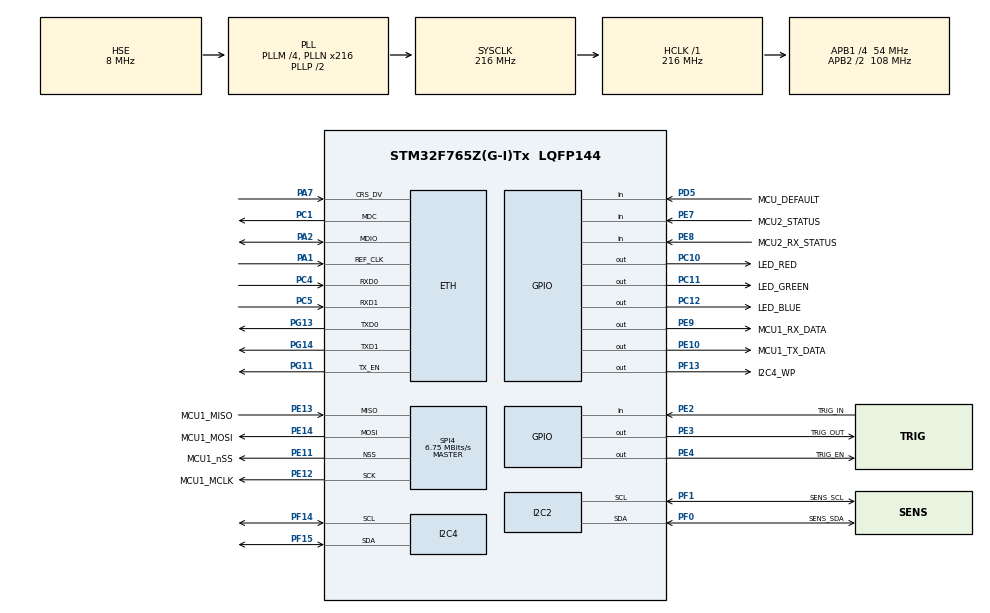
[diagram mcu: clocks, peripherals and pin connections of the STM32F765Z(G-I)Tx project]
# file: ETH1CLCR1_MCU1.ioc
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CORTEX_M7.CPU_DCache=Enabled
CORTEX_M7.CPU_ICache=Enabled
ETH.MediaInterface=ETH_MEDIA_INTERFACE_RMII
FREERTOS.HEAP_NUMBER=4
FREERTOS.Tasks01=defaultTask,24,128,StartDefaultTask,Default,NULL,Dynamic,NULL,NULL;LEDTask,8,128,StartLEDTask,Default,NULL,Dynamic,NULL,NULL;TriggerTask,24,128,StartTriggerTask,Default,NULL,Dynamic,NULL,NULL
FREERTOS.configTOTAL_HEAP_SIZE=245760
I2C2.Timing=0x20404768
I2C4.Timing=0x20404768
LWIP.CMSIS_VERSION-Enabled=1
LWIP.DEFAULT_THREAD_STACKSIZE=2048
LWIP.GATEWAY_ADDRESS=192.168.000.123
LWIP.IP_ADDRESS=192.168.000.126
LWIP.LWIP_DHCP=0
LWIP.NETMASK_ADDRESS=255.255.255.000
LWIP.SLIPIF_THREAD_STACKSIZE=2048
LWIP.TCPIP_THREAD_STACKSIZE=2048
LWIP.Version=v2.1.2_Cube
Mcu.Family=STM32F7
Mcu.Name=STM32F765Z(G-I)Tx
Mcu.Package=LQFP144
NVIC.ETH_IRQn=true\:5\:0\:false\:false\:true\:true\:false\:true
NVIC.PriorityGroup=NVIC_PRIORITYGROUP_4
NVIC.TIM1_UP_TIM10_IRQn=true\:0\:0\:false\:false\:true\:false\:false\:true
NVIC.TimeBase=TIM1_UP_TIM10_IRQn
NVIC.TimeBaseIP=TIM1
PA1.Mode=RMII
PA1.Signal=ETH_REF_CLK
PA13.Mode=Serial_Wire
PA13.Signal=SYS_JTMS-SWDIO
PA14.Mode=Serial_Wire
PA14.Signal=SYS_JTCK-SWCLK
PA2.Mode=RMII
PA2.Signal=ETH_MDIO
PA7.Mode=RMII
PA7.Signal=ETH_CRS_DV
PC1.Mode=RMII
PC1.Signal=ETH_MDC
PC10.GPIO_Label=LED_RED
PC10.PinState=GPIO_PIN_SET
PC10.Signal=GPIO_Output
PC11.GPIO_Label=LED_GREEN
PC11.PinState=GPIO_PIN_SET
PC11.Signal=GPIO_Output
PC12.GPIO_Label=LED_BLUE
PC12.PinState=GPIO_PIN_SET
PC12.Signal=GPIO_Output
PC4.Mode=RMII
PC4.Signal=ETH_RXD0
PC5.Mode=RMII
PC5.Signal=ETH_RXD1
PD5.GPIO_Label=MCU_DEFAULT
PD5.Signal=GPIO_Input
PE10.GPIO_Label=MCU1_TX_DATA
PE10.GPIO_PuPd=GPIO_PULLUP
PE10.GPIO_Speed=GPIO_SPEED_FREQ_HIGH
PE10.Signal=GPIO_Output
PE11.GPIO_Label=MCU1_nSS
PE11.GPIO_Speed=GPIO_SPEED_FREQ_HIGH
PE11.Mode=NSS_Signal_Hard_Output
PE11.Signal=SPI4_NSS
PE12.GPIO_Label=MCU1_MCLK
PE12.GPIO_Speed=GPIO_SPEED_FREQ_HIGH
PE12.Mode=Full_Duplex_Master
PE12.Signal=SPI4_SCK
PE13.GPIO_Label=MCU1_MISO
PE13.GPIO_PuPd=GPIO_PULLUP
PE13.GPIO_Speed=GPIO_SPEED_FREQ_HIGH
PE13.Mode=Full_Duplex_Master
PE13.Signal=SPI4_MISO
PE14.GPIO_Label=MCU1_MOSI
PE14.GPIO_Speed=GPIO_SPEED_FREQ_HIGH
PE14.Mode=Full_Duplex_Master
PE14.Signal=SPI4_MOSI
PE2.GPIO_Label=TRIG_IN
PE2.Signal=GPIO_Input
PE3.GPIO_Label=TRIG_OUT
PE3.GPIO_Speed=GPIO_SPEED_FREQ_VERY_HIGH
PE3.Signal=GPIO_Output
PE4.GPIO_Label=TRIG_EN
PE4.GPIO_ModeDefaultOutputPP=GPIO_MODE_OUTPUT_PP
PE4.GPIO_Speed=GPIO_SPEED_FREQ_LOW
PE4.Signal=GPIO_Output
PE7.GPIO_Label=MCU2_STATUS
PE7.Signal=GPIO_Input
PE8.GPIO_Label=MCU2_RX_STATUS
PE8.GPIO_PuPd=GPIO_PULLUP
PE8.Signal=GPIO_Input
PE9.GPIO_Label=MCU1_RX_DATA
PE9.GPIO_PuPd=GPIO_PULLUP
PE9.GPIO_Speed=GPIO_SPEED_FREQ_HIGH
PE9.Signal=GPIO_Output
PF0.GPIO_Label=SENS_SDA
PF0.Mode=I2C
PF0.Signal=I2C2_SDA
PF1.GPIO_Label=SENS_SCL
PF1.Mode=I2C
PF1.Signal=I2C2_SCL
PF13.GPIO_Label=I2C4_WP
PF13.Signal=GPIO_Output
PF14.Mode=I2C
PF14.Signal=I2C4_SCL
PF15.Mode=I2C
PF15.Signal=I2C4_SDA
PG11.Mode=RMII
PG11.Signal=ETH_TX_EN
PG13.Mode=RMII
PG13.Signal=ETH_TXD0
PG14.Mode=RMII
PG14.Signal=ETH_TXD1
PH0/OSC_IN.Mode=HSE-External-Oscillator
PH0/OSC_IN.Signal=RCC_OSC_IN
PH1/OSC_OUT.Mode=HSE-External-Oscillator
PH1/OSC_OUT.Signal=RCC_OSC_OUT
ProjectManager.HeapSize=0x200
ProjectManager.StackSize=0x400
ProjectManager.TargetToolchain=STM32CubeIDE
RCC.AHBFreq_Value=216000000
RCC.APB1CLKDivider=RCC_HCLK_DIV4
RCC.APB1Freq_Value=54000000
RCC.APB1TimFreq_Value=108000000
RCC.APB2CLKDivider=RCC_HCLK_DIV2
RCC.APB2Freq_Value=108000000
RCC.APB2TimFreq_Value=216000000
RCC.CortexFreq_Value=216000000
RCC.HCLKFreq_Value=216000000
RCC.HSE_VALUE=8000000
RCC.HSI_VALUE=16000000
RCC.LSE_VALUE=32768
RCC.PLLM=4
RCC.PLLN=216
RCC.PLLSourceVirtual=RCC_PLLSOURCE_HSE
RCC.SYSCLKFreq_VALUE=216000000
RCC.SYSCLKSource=RCC_SYSCLKSOURCE_PLLCLK
RCC.USBFreq_Value=216000000
RCC.VCOOutputFreq_Value=432000000
SPI4.BaudRatePrescaler=SPI_BAUDRATEPRESCALER_16
SPI4.CalculateBaudRate=6.75 MBits/s
SPI4.DataSize=SPI_DATASIZE_8BIT
SPI4.Direction=SPI_DIRECTION_2LINES
SPI4.Mode=SPI_MODE_MASTER
SPI4.VirtualNSS=VM_NSSHARD
SPI4.VirtualType=VM_MASTER
VP_FREERTOS_VS_CMSIS_V2.Mode=CMSIS_V2
VP_LWIP_VS_Enabled.Mode=Enabled
VP_SYS_VS_tim1.Mode=TIM1
board=custom

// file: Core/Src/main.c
/* USER CODE BEGIN Header */
/**
  ******************************************************************************
  * @file           : main.c
  * @brief          : Main program body
  ******************************************************************************
  * @attention
  *
  * <h2><center>&copy; Copyright (c) 2020 STMicroelectronics.
  * All rights reserved.</center></h2>
  *
  * This software component is licensed by ST under BSD 3-Clause license,
  * the "License"; You may not use this file except in compliance with the
  * License. You may obtain a copy of the License at:
  *                        opensource.org/licenses/BSD-3-Clause
  *
  ******************************************************************************
  */
/* USER CODE END Header */

#include "main.h"
#include "cmsis_os.h"
#include "lwip.h"

/* USER CODE BEGIN Includes */
#include "board.h"
#include "scpi_trigger.h"
#include "spi4.h"
/* USER CODE END Includes */

I2C_HandleTypeDef hi2c2;
I2C_HandleTypeDef hi2c4;

SPI_HandleTypeDef hspi4;

/* Definitions for defaultTask */
osThreadId_t defaultTaskHandle;
const osThreadAttr_t defaultTask_attributes = {
  .name = "defaultTask",
  .priority = (osPriority_t) osPriorityNormal,
  .stack_size = 128 * 4
};
/* Definitions for LEDTask */
osThreadId_t LEDTaskHandle;
const osThreadAttr_t LEDTask_attributes = {
  .name = "LEDTask",
  .priority = (osPriority_t) osPriorityLow,
  .stack_size = 128 * 4
};
/* Definitions for TriggerTask */
osThreadId_t TriggerTaskHandle;
const osThreadAttr_t TriggerTask_attributes = {
  .name = "TriggerTask",
  .priority = (osPriority_t) osPriorityNormal,
  .stack_size = 128 * 4
};

void SystemClock_Config(void);
static void MX_GPIO_Init(void);
static void MX_I2C2_Init(void);
static void MX_I2C4_Init(void);
static void MX_SPI4_Init(void);
void StartDefaultTask(void *argument);
void StartLEDTask(void *argument);
void StartTriggerTask(void *argument);

int main(void)
{

  /* Enable I-Cache---------------------------------------------------------*/
  SCB_EnableICache();

  /* Enable D-Cache---------------------------------------------------------*/
  SCB_EnableDCache();

  /* MCU Configuration--------------------------------------------------------*/

  /* Reset of all peripherals, Initializes the Flash interface and the Systick. */
  HAL_Init();

  /* Configure the system clock */
  SystemClock_Config();

  /* Initialize all configured peripherals */
  MX_GPIO_Init();
  MX_I2C2_Init();
  MX_I2C4_Init();
  MX_SPI4_Init();
  /* USER CODE BEGIN 2 */
  MX_LWIP_Init();

  BOARD_DetectDefaultConfig();
  BOARD_CreateDefaultData();
  /* USER CODE END 2 */

  /* Init scheduler */
  osKernelInitialize();

  /* Create the thread(s) */
  /* creation of defaultTask */
 // defaultTaskHandle = osThreadNew(StartDefaultTask, NULL, &defaultTask_attributes);

  /* creation of LEDTask */
 // LEDTaskHandle = osThreadNew(StartLEDTask, NULL, &LEDTask_attributes);

  /* creation of TriggerTask */
 // TriggerTaskHandle = osThreadNew(StartTriggerTask, NULL, &TriggerTask_attributes);

  /* USER CODE BEGIN RTOS_THREADS */
  scpi_server_init();
  /* USER CODE END RTOS_THREADS */

  /* Start scheduler */
  osKernelStart();

  /* We should never get here as control is now taken by the scheduler */
  /* Infinite loop */
  while (1)
  {

  }
}

void SystemClock_Config(void)
{
  RCC_OscInitTypeDef RCC_OscInitStruct = {0};
  RCC_ClkInitTypeDef RCC_ClkInitStruct = {0};
  RCC_PeriphCLKInitTypeDef PeriphClkInitStruct = {0};

  /** Configure the main internal regulator output voltage
  */
  __HAL_RCC_PWR_CLK_ENABLE();
  __HAL_PWR_VOLTAGESCALING_CONFIG(PWR_REGULATOR_VOLTAGE_SCALE1);
  /** Initializes the CPU, AHB and APB busses clocks
  */
  RCC_OscInitStruct.OscillatorType = RCC_OSCILLATORTYPE_HSE;
  RCC_OscInitStruct.HSEState = RCC_HSE_ON;
  RCC_OscInitStruct.PLL.PLLState = RCC_PLL_ON;
  RCC_OscInitStruct.PLL.PLLSource = RCC_PLLSOURCE_HSE;
  RCC_OscInitStruct.PLL.PLLM = 4;
  RCC_OscInitStruct.PLL.PLLN = 216;
  RCC_OscInitStruct.PLL.PLLP = RCC_PLLP_DIV2;
  RCC_OscInitStruct.PLL.PLLQ = 2;
  if (HAL_RCC_OscConfig(&RCC_OscInitStruct) != HAL_OK)
  {
    Error_Handler();
  }
  /** Activate the Over-Drive mode
  */
  if (HAL_PWREx_EnableOverDrive() != HAL_OK)
  {
    Error_Handler();
  }
  /** Initializes the CPU, AHB and APB busses clocks
  */
  RCC_ClkInitStruct.ClockType = RCC_CLOCKTYPE_HCLK|RCC_CLOCKTYPE_SYSCLK
                              |RCC_CLOCKTYPE_PCLK1|RCC_CLOCKTYPE_PCLK2;
  RCC_ClkInitStruct.SYSCLKSource = RCC_SYSCLKSOURCE_PLLCLK;
  RCC_ClkInitStruct.AHBCLKDivider = RCC_SYSCLK_DIV1;
  RCC_ClkInitStruct.APB1CLKDivider = RCC_HCLK_DIV4;
  RCC_ClkInitStruct.APB2CLKDivider = RCC_HCLK_DIV2;

  if (HAL_RCC_ClockConfig(&RCC_ClkInitStruct, FLASH_LATENCY_7) != HAL_OK)
  {
    Error_Handler();
  }
  PeriphClkInitStruct.PeriphClockSelection = RCC_PERIPHCLK_I2C2|RCC_PERIPHCLK_I2C4;
  PeriphClkInitStruct.I2c2ClockSelection = RCC_I2C2CLKSOURCE_PCLK1;
  PeriphClkInitStruct.I2c4ClockSelection = RCC_I2C4CLKSOURCE_PCLK1;
  if (HAL_RCCEx_PeriphCLKConfig(&PeriphClkInitStruct) != HAL_OK)
  {
    Error_Handler();
  }
}

static void MX_I2C2_Init(void)
{

  hi2c2.Instance = I2C2;
  hi2c2.Init.Timing = 0x20404768;
  hi2c2.Init.OwnAddress1 = 0;
  hi2c2.Init.AddressingMode = I2C_ADDRESSINGMODE_7BIT;
  hi2c2.Init.DualAddressMode = I2C_DUALADDRESS_DISABLE;
  hi2c2.Init.OwnAddress2 = 0;
  hi2c2.Init.OwnAddress2Masks = I2C_OA2_NOMASK;
  hi2c2.Init.GeneralCallMode = I2C_GENERALCALL_DISABLE;
  hi2c2.Init.NoStretchMode = I2C_NOSTRETCH_DISABLE;
  if (HAL_I2C_Init(&hi2c2) != HAL_OK)
  {
    Error_Handler();
  }
  /** Configure Analogue filter
  */
  if (HAL_I2CEx_ConfigAnalogFilter(&hi2c2, I2C_ANALOGFILTER_ENABLE) != HAL_OK)
  {
    Error_Handler();
  }
  /** Configure Digital filter
  */
  if (HAL_I2CEx_ConfigDigitalFilter(&hi2c2, 0) != HAL_OK)
  {
    Error_Handler();
  }

}

static void MX_I2C4_Init(void)
{

  hi2c4.Instance = I2C4;
  hi2c4.Init.Timing = 0x20404768;
  hi2c4.Init.OwnAddress1 = 0;
  hi2c4.Init.AddressingMode = I2C_ADDRESSINGMODE_7BIT;
  hi2c4.Init.DualAddressMode = I2C_DUALADDRESS_DISABLE;
  hi2c4.Init.OwnAddress2 = 0;
  hi2c4.Init.OwnAddress2Masks = I2C_OA2_NOMASK;
  hi2c4.Init.GeneralCallMode = I2C_GENERALCALL_DISABLE;
  hi2c4.Init.NoStretchMode = I2C_NOSTRETCH_DISABLE;
  if (HAL_I2C_Init(&hi2c4) != HAL_OK)
  {
    Error_Handler();
  }
  /** Configure Analogue filter
  */
  if (HAL_I2CEx_ConfigAnalogFilter(&hi2c4, I2C_ANALOGFILTER_ENABLE) != HAL_OK)
  {
    Error_Handler();
  }
  /** Configure Digital filter
  */
  if (HAL_I2CEx_ConfigDigitalFilter(&hi2c4, 0) != HAL_OK)
  {
    Error_Handler();
  }

}

static void MX_SPI4_Init(void)
{

  /* SPI4 parameter configuration*/
  hspi4.Instance = SPI4;
  hspi4.Init.Mode = SPI_MODE_MASTER;
  hspi4.Init.Direction = SPI_DIRECTION_2LINES;
  hspi4.Init.DataSize = SPI_DATASIZE_8BIT;
  hspi4.Init.CLKPolarity = SPI_POLARITY_LOW;
  hspi4.Init.CLKPhase = SPI_PHASE_1EDGE;
  hspi4.Init.NSS = SPI_NSS_HARD_OUTPUT;
  hspi4.Init.BaudRatePrescaler = SPI_BAUDRATEPRESCALER_16;
  hspi4.Init.FirstBit = SPI_FIRSTBIT_MSB;
  hspi4.Init.TIMode = SPI_TIMODE_DISABLE;
  hspi4.Init.CRCCalculation = SPI_CRCCALCULATION_DISABLE;
  hspi4.Init.CRCPolynomial = 7;
  hspi4.Init.CRCLength = SPI_CRC_LENGTH_DATASIZE;
  hspi4.Init.NSSPMode = SPI_NSS_PULSE_ENABLE;
  if (HAL_SPI_Init(&hspi4) != HAL_OK)
  {
    Error_Handler();
  }

}

static void MX_GPIO_Init(void)
{
  GPIO_InitTypeDef GPIO_InitStruct = {0};

  /* GPIO Ports Clock Enable */
  __HAL_RCC_GPIOE_CLK_ENABLE();
  __HAL_RCC_GPIOF_CLK_ENABLE();
  __HAL_RCC_GPIOH_CLK_ENABLE();
  __HAL_RCC_GPIOC_CLK_ENABLE();
  __HAL_RCC_GPIOA_CLK_ENABLE();
  __HAL_RCC_GPIOD_CLK_ENABLE();
  __HAL_RCC_GPIOG_CLK_ENABLE();

  /*Configure GPIO pin Output Level */
  HAL_GPIO_WritePin(GPIOE, TRIG_OUT_Pin|TRIG_EN_Pin|MCU1_RX_DATA_Pin|MCU1_TX_DATA_Pin, GPIO_PIN_RESET);

  /*Configure GPIO pin Output Level */
  HAL_GPIO_WritePin(I2C4_WP_GPIO_Port, I2C4_WP_Pin, GPIO_PIN_RESET);

  /*Configure GPIO pin Output Level */
  HAL_GPIO_WritePin(GPIOC, LED_RED_Pin|LED_GREEN_Pin|LED_BLUE_Pin, GPIO_PIN_SET);

  /*Configure GPIO pins : TRIG_IN_Pin MCU2_STATUS_Pin */
  GPIO_InitStruct.Pin = TRIG_IN_Pin|MCU2_STATUS_Pin;
  GPIO_InitStruct.Mode = GPIO_MODE_INPUT;
  GPIO_InitStruct.Pull = GPIO_NOPULL;
  HAL_GPIO_Init(GPIOE, &GPIO_InitStruct);

  /*Configure GPIO pin : TRIG_OUT_Pin */
  GPIO_InitStruct.Pin = TRIG_OUT_Pin;
  GPIO_InitStruct.Mode = GPIO_MODE_OUTPUT_PP;
  GPIO_InitStruct.Pull = GPIO_NOPULL;
  GPIO_InitStruct.Speed = GPIO_SPEED_FREQ_VERY_HIGH;
  HAL_GPIO_Init(TRIG_OUT_GPIO_Port, &GPIO_InitStruct);

  /*Configure GPIO pin : TRIG_EN_Pin */
  GPIO_InitStruct.Pin = TRIG_EN_Pin;
  GPIO_InitStruct.Mode = GPIO_MODE_OUTPUT_PP;
  GPIO_InitStruct.Pull = GPIO_NOPULL;
  GPIO_InitStruct.Speed = GPIO_SPEED_FREQ_LOW;
  HAL_GPIO_Init(TRIG_EN_GPIO_Port, &GPIO_InitStruct);

  /*Configure GPIO pin : I2C4_WP_Pin */
  GPIO_InitStruct.Pin = I2C4_WP_Pin;
  GPIO_InitStruct.Mode = GPIO_MODE_OUTPUT_PP;
  GPIO_InitStruct.Pull = GPIO_NOPULL;
  GPIO_InitStruct.Speed = GPIO_SPEED_FREQ_LOW;
  HAL_GPIO_Init(I2C4_WP_GPIO_Port, &GPIO_InitStruct);

  /*Configure GPIO pin : MCU2_RX_STATUS_Pin */
  GPIO_InitStruct.Pin = MCU2_RX_STATUS_Pin;
  GPIO_InitStruct.Mode = GPIO_MODE_INPUT;
  GPIO_InitStruct.Pull = GPIO_PULLUP;
  HAL_GPIO_Init(MCU2_RX_STATUS_GPIO_Port, &GPIO_InitStruct);

  /*Configure GPIO pins : MCU1_RX_DATA_Pin MCU1_TX_DATA_Pin */
  GPIO_InitStruct.Pin = MCU1_RX_DATA_Pin|MCU1_TX_DATA_Pin;
  GPIO_InitStruct.Mode = GPIO_MODE_OUTPUT_PP;
  GPIO_InitStruct.Pull = GPIO_PULLUP;
  GPIO_InitStruct.Speed = GPIO_SPEED_FREQ_HIGH;
  HAL_GPIO_Init(GPIOE, &GPIO_InitStruct);

  /*Configure GPIO pins : LED_RED_Pin LED_GREEN_Pin LED_BLUE_Pin */
  GPIO_InitStruct.Pin = LED_RED_Pin|LED_GREEN_Pin|LED_BLUE_Pin;
  GPIO_InitStruct.Mode = GPIO_MODE_OUTPUT_PP;
  GPIO_InitStruct.Pull = GPIO_NOPULL;
  GPIO_InitStruct.Speed = GPIO_SPEED_FREQ_LOW;
  HAL_GPIO_Init(GPIOC, &GPIO_InitStruct);

  /*Configure GPIO pin : MCU_DEFAULT_Pin */
  GPIO_InitStruct.Pin = MCU_DEFAULT_Pin;
  GPIO_InitStruct.Mode = GPIO_MODE_INPUT;
  GPIO_InitStruct.Pull = GPIO_NOPULL;
  HAL_GPIO_Init(MCU_DEFAULT_GPIO_Port, &GPIO_InitStruct);

}

/* USER CODE BEGIN 4 */
void  BlinkTask(void* argument)
{
	for(;;)
	{
		HAL_GPIO_TogglePin(LED_GREEN_GPIO_Port, LED_GREEN_Pin);
		osDelay(pdMS_TO_TICKS(500));
	}
}
/* USER CODE END 4 */

void StartDefaultTask(void *argument)
{
  /* init code for LWIP */
  MX_LWIP_Init();
  /* USER CODE BEGIN 5 */

  /* Infinite loop */
  for(;;)
  {
	   // osThreadTerminate(NULL);
  }
  /* USER CODE END 5 */
}

void StartLEDTask(void *argument)
{
  for(;;)
  {
    osDelay(1);
  }
}

void StartTriggerTask(void *argument)
{
  /* USER CODE BEGIN StartTriggerTask */
  /* Infinite loop */

  int8_t tx_data[SPI4_BUFFER] = {[0 ... SPI4_BUFFER - 1] = '\0'};

  for(;;)
  {
	  if(TRIG_EXT == board.structure.trigger.source)
	  {
		  if(HAL_GPIO_ReadPin(TRIG_IN_GPIO_Port, TRIG_IN_Pin))
		  {
			  osDelay(board.structure.trigger.delay*1000);
			  snprintf(tx_data, SPI4_BUFFER, "IMM\r\n");
			  SPI4_Transmit(&tx_data,1000);
		  }
	  }
	  osDelay(pdMS_TO_TICKS(10));
  }
  /* USER CODE END StartTriggerTask */
}

 /**
  * @brief  Period elapsed callback in non blocking mode
  * @note   This function is called  when TIM1 interrupt took place, inside
  * HAL_TIM_IRQHandler(). It makes a direct call to HAL_IncTick() to increment
  * a global variable "uwTick" used as application time base.
  * @param  htim : TIM handle
  * @retval None
  */
void HAL_TIM_PeriodElapsedCallback(TIM_HandleTypeDef *htim)
{
  if (htim->Instance == TIM1) {
    HAL_IncTick();
  }
}

void Error_Handler(void)
{
}

/************************ (C) COPYRIGHT STMicroelectronics *****END OF FILE****/
